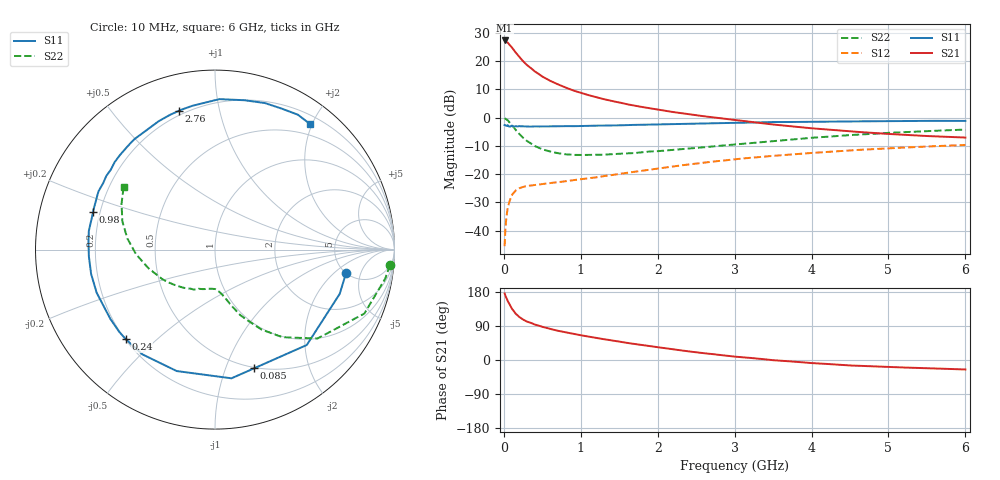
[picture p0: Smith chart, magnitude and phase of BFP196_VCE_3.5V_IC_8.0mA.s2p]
! Infineon Technologies  Discrete & RF Semiconductors
! BFP196
! VCE = 3.5 V,  IC = 8.0mA
! Common Emitter S-Parameters:  Jan 2016
# GHz  S  MA  R  50
!  f  S11  S21  S12  S22
! GHz  MAG  ANG  MAG  ANG  MAG  ANG  MAG  ANG
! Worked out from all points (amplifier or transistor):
!   210 points, 10 MHz to 6 GHz, reference 50 ohm
!   highest |S21| = 27.4 dB at 10 MHz (marker M1)
!   |S21| within 3 dB of that: start of sweep to 119 MHz
!   unconditionally stable (mu >= 1): 944.7 MHz to 3.332 GHz
!   at 185 MHz: K = 0.26, MSG = 23.7 dB, |S12| = -25.3 dB
!   at 1.52 GHz: K = 1.16, MAG = 10.1 dB, |S12| = -19.8 dB
!   at 6 GHz: K = 0.97, MSG = 1.3 dB, |S12| = -9.6 dB
!   S11 on the Smith chart (normalised r, x): 10 MHz: 5.04, -2.89; 85 MHz: 0.49, -1.26; 240 MHz: 0.20, -0.40; 980 MHz: 0.17, +0.15; 2.76 GHz: 0.18, +0.76; 6 GHz: 0.33, +1.98
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0.01  0.7421 -10.0  23.38 175.7  0.0053 86.7  0.9788 -5.1
0.02  0.7372 -19.6  22.89 169.5  0.0106 82.5  0.962 -9.7
0.05  0.7376 -46.1  21.51 155.5  0.0251 68.4  0.9052 -23.2
0.085  0.6964 -71.8  18.79 142.9  0.0367 56.0  0.7924 -34.9
0.1  0.723 -82.7  17.96 136.4  0.042 52.9  0.7562 -40.9
0.15  0.7095 -107.5  14.52 122.7  0.0509 43.2  0.6163 -52.4
0.2  0.7103 -124.8  11.99 113.5  0.056 37.3  0.5154 -59.8
0.24  0.7042 -135.0  10.38 108.1  0.0588 34.0  0.4546 -63.7
0.3  0.6993 -146.5  8.591 101.4  0.0617 31.9  0.3885 -69.1
0.4  0.7018 -160.0  6.651 93.7  0.0644 29.7  0.3163 -74.4
0.5  0.7034 -168.9  5.366 87.5  0.0669 29.7  0.2759 -78.0
0.6  0.7037 -176.9  4.522 82.1  0.0695 30.3  0.2511 -81.3
0.7  0.7063 176.6  3.913 77.2  0.072 31.4  0.2353 -84.5
0.98  0.7111 162.8  2.812 66.1  0.0806 35.1  0.2189 -91.8
1.02  0.7132 160.9  2.706 64.6  0.0819 35.6  0.2189 -92.9
1.4  0.7316 145.9  1.98 51.8  0.0961 39.4  0.226 -103.5
2.02  0.7619 125.5  1.376 33.2  0.1272 41.5  0.2566 -122.0
2.76  0.799 104.6  0.999 14.5  0.1693 38.5  0.3135 -143.8
3.1  0.8143 96.7  0.88 7.3  0.1892 35.4  0.3445 -153.8
4.1  0.8497 77.3  0.634 -9.2  0.2426 25.2  0.45 -179.0
5.1  0.8709 63.3  0.507 -19.1  0.2914 13.7  0.5463 161.2
6  0.8773 52.7  0.445 -25.0  0.3294 2.7  0.6169 145.6
